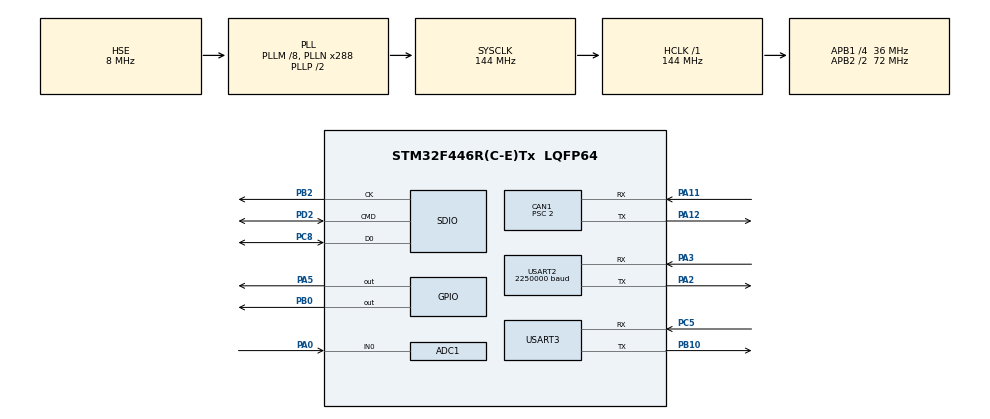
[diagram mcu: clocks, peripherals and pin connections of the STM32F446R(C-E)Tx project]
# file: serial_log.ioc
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ADC1.Channel-0\#ChannelRegularConversion=ADC_CHANNEL_0
ADC1.NbrOfConversionFlag=1
ADC1.Rank-0\#ChannelRegularConversion=1
ADC1.SamplingTime-0\#ChannelRegularConversion=ADC_SAMPLETIME_3CYCLES
ADC1.master=1
CAN1.BS1=CAN_BS1_12TQ
CAN1.BS2=CAN_BS2_5TQ
CAN1.CalculateTimeQuantum=55.55555555555556
CAN1.Prescaler=2
Dma.Request0=SDIO_RX
Dma.Request1=SDIO_TX
Dma.SDIO_RX.0.Direction=DMA_PERIPH_TO_MEMORY
Dma.SDIO_RX.0.FIFOMode=DMA_FIFOMODE_ENABLE
Dma.SDIO_RX.0.FIFOThreshold=DMA_FIFO_THRESHOLD_FULL
Dma.SDIO_RX.0.Instance=DMA2_Stream3
Dma.SDIO_RX.0.MemBurst=DMA_MBURST_INC4
Dma.SDIO_RX.0.MemDataAlignment=DMA_MDATAALIGN_WORD
Dma.SDIO_RX.0.MemInc=DMA_MINC_ENABLE
Dma.SDIO_RX.0.Mode=DMA_PFCTRL
Dma.SDIO_RX.0.PeriphBurst=DMA_PBURST_INC4
Dma.SDIO_RX.0.PeriphDataAlignment=DMA_PDATAALIGN_WORD
Dma.SDIO_RX.0.PeriphInc=DMA_PINC_DISABLE
Dma.SDIO_RX.0.Priority=DMA_PRIORITY_LOW
Dma.SDIO_TX.1.Direction=DMA_MEMORY_TO_PERIPH
Dma.SDIO_TX.1.FIFOMode=DMA_FIFOMODE_ENABLE
Dma.SDIO_TX.1.FIFOThreshold=DMA_FIFO_THRESHOLD_FULL
Dma.SDIO_TX.1.Instance=DMA2_Stream6
Dma.SDIO_TX.1.MemBurst=DMA_MBURST_INC4
Dma.SDIO_TX.1.MemDataAlignment=DMA_MDATAALIGN_WORD
Dma.SDIO_TX.1.MemInc=DMA_MINC_ENABLE
Dma.SDIO_TX.1.Mode=DMA_PFCTRL
Dma.SDIO_TX.1.PeriphBurst=DMA_PBURST_INC4
Dma.SDIO_TX.1.PeriphDataAlignment=DMA_PDATAALIGN_WORD
Dma.SDIO_TX.1.PeriphInc=DMA_PINC_DISABLE
Dma.SDIO_TX.1.Priority=DMA_PRIORITY_LOW
Mcu.Family=STM32F4
Mcu.Name=STM32F446R(C-E)Tx
Mcu.Package=LQFP64
NVIC.CAN1_RX0_IRQn=true\:0\:0\:false\:true\:true\:1\:true\:true
NVIC.CAN1_RX1_IRQn=true\:0\:0\:false\:true\:true\:2\:true\:true
NVIC.CAN1_SCE_IRQn=true\:0\:0\:false\:true\:true\:3\:true\:true
NVIC.DMA2_Stream3_IRQn=true\:0\:0\:false\:false\:true\:false\:true
NVIC.DMA2_Stream6_IRQn=true\:0\:0\:false\:false\:true\:false\:true
NVIC.PriorityGroup=NVIC_PRIORITYGROUP_4
NVIC.SDIO_IRQn=true\:0\:0\:false\:false\:true\:true\:true
NVIC.TIM6_DAC_IRQn=true\:0\:0\:false\:true\:true\:4\:true\:true
NVIC.TIM7_IRQn=true\:0\:0\:false\:true\:true\:5\:true\:true
NVIC.USART2_IRQn=true\:0\:0\:false\:true\:true\:6\:true\:true
PA0-WKUP.Signal=ADCx_IN0
PA11.Mode=Master
PA11.Signal=CAN1_RX
PA12.Mode=Master
PA12.Signal=CAN1_TX
PA2.Mode=Asynchronous
PA2.Signal=USART2_TX
PA3.Mode=Asynchronous
PA3.Signal=USART2_RX
PA5.GPIO_PuPd=GPIO_PULLUP
PA5.Signal=GPIO_Output
PB0.GPIO_PuPd=GPIO_PULLUP
PB0.Signal=GPIO_Output
PB10.Mode=Asynchronous
PB10.Signal=USART3_TX
PB2.Mode=SD_1_bit
PB2.Signal=SDIO_CK
PC5.Mode=Asynchronous
PC5.Signal=USART3_RX
PC8.Mode=SD_1_bit
PC8.Signal=SDIO_D0
PD2.Mode=SD_1_bit
PD2.Signal=SDIO_CMD
PH0-OSC_IN.Mode=HSE-External-Clock-Source
PH0-OSC_IN.Signal=RCC_OSC_IN
PH1-OSC_OUT.Mode=HSE-External-Clock-Source
PH1-OSC_OUT.Signal=RCC_OSC_OUT
ProjectManager.HeapSize=0x2000
ProjectManager.StackSize=0x4000
ProjectManager.TargetToolchain=STM32CubeIDE
RCC.AHBFreq_Value=144000000
RCC.APB1CLKDivider=RCC_HCLK_DIV4
RCC.APB1Freq_Value=36000000
RCC.APB1TimFreq_Value=72000000
RCC.APB2CLKDivider=RCC_HCLK_DIV2
RCC.APB2Freq_Value=72000000
RCC.APB2TimFreq_Value=144000000
RCC.CortexFreq_Value=144000000
RCC.HCLKFreq_Value=144000000
RCC.HSE_VALUE=8000000
RCC.PLLM=8
RCC.PLLN=288
RCC.PLLQ=8
RCC.PLLSourceVirtual=RCC_PLLSOURCE_HSE
RCC.SYSCLKFreq_VALUE=144000000
RCC.SYSCLKSource=RCC_SYSCLKSOURCE_PLLCLK
RCC.USBFreq_Value=36000000
RCC.VCOOutputFreq_Value=288000000
SH.ADCx_IN0.0=ADC1_IN0,IN0
TIM6.Period=1000
TIM6.Prescaler=36
TIM7.Period=1999
TIM7.Prescaler=3600
USART2.BaudRate=2250000
USART2.VirtualMode=VM_ASYNC
USART3.VirtualMode=VM_ASYNC
VP_TIM6_VS_ClockSourceINT.Mode=Enable_Timer
VP_TIM7_VS_ClockSourceINT.Mode=Enable_Timer
board=Real_Antenna

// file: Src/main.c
/* USER CODE BEGIN Header */
/**
  ******************************************************************************
  * @file           : main.c
  * @brief          : Main program body
  ******************************************************************************
  * @attention
  *
  * <h2><center>&copy; Copyright (c) 2019 STMicroelectronics.
  * All rights reserved.</center></h2>
  *
  * This software component is licensed by ST under BSD 3-Clause license,
  * the "License"; You may not use this file except in compliance with the
  * License. You may obtain a copy of the License at:
  *                        opensource.org/licenses/BSD-3-Clause
  *
  ******************************************************************************
  */
/* USER CODE END Header */

#include "main.h"

/* USER CODE BEGIN Includes */
#include "queue.h"
#include "string.h"
/* USER CODE END Includes */

ADC_HandleTypeDef hadc1;

CAN_HandleTypeDef hcan1;

SD_HandleTypeDef hsd;
DMA_HandleTypeDef hdma_sdio_rx;
DMA_HandleTypeDef hdma_sdio_tx;

TIM_HandleTypeDef htim6;
TIM_HandleTypeDef htim7;

UART_HandleTypeDef huart2;
UART_HandleTypeDef huart3;

/* USER CODE BEGIN PV */
/* Private variables ---------------------------------------------------------*/
CAN_FilterTypeDef sFilter;
CAN_RxHeaderTypeDef RxHeader;

int a=0;

int cont_rx=0;
char messagesToWrite[200][256];
int time=0;
long int printable_time = 0;
int delta;

int mount_ok = 0;
int msg_counter = 0;
int msg_index = 0;

static TIM_HandleTypeDef a_TimerInstance6 = {.Instance = TIM6};
static TIM_HandleTypeDef a_TimerInstance7 = {.Instance = TIM7};

int interrupt_flag = 0;

uint8_t huart_rx[50];
char msg_can_to_send[50];
int cont_msg_can_to_send;
int flag_rx=0;
int cont_huart_rx;
int cont_length_num;

/* USER CODE END PV */

void SystemClock_Config(void);
static void MX_GPIO_Init(void);
static void MX_DMA_Init(void);
static void MX_USART3_UART_Init(void);
static void MX_SDIO_SD_Init(void);
static void MX_USART2_UART_Init(void);
static void MX_CAN1_Init(void);
static void MX_TIM6_Init(void);
static void MX_TIM7_Init(void);
static void MX_ADC1_Init(void);
static void MX_NVIC_Init(void);
/* USER CODE BEGIN PFP */
/* Private function prototypes -----------------------------------------------*/

/* USER CODE END PFP */

int main(void)
{

  /* MCU Configuration--------------------------------------------------------*/

  /* Reset of all peripherals, Initializes the Flash interface and the Systick. */
  HAL_Init();

  /* Configure the system clock */
  SystemClock_Config();

  /* Initialize all configured peripherals */
  MX_GPIO_Init();
  MX_DMA_Init();
  MX_USART3_UART_Init();
  MX_SDIO_SD_Init();
  MX_USART2_UART_Init();
  MX_CAN1_Init();
  MX_TIM6_Init();
  MX_TIM7_Init();
  MX_ADC1_Init();

  /* Initialize interrupts */
  MX_NVIC_Init();
  /* USER CODE BEGIN 2 */
	sFilter.FilterMode = CAN_FILTERMODE_IDMASK;
	sFilter.FilterIdLow = 0;
	sFilter.FilterIdHigh = 0;
	sFilter.FilterMaskIdHigh = 0;
	sFilter.FilterMaskIdLow = 0;
	sFilter.FilterFIFOAssignment = CAN_FILTER_FIFO0;
	sFilter.FilterBank = 0;
	sFilter.FilterScale  = CAN_FILTERSCALE_16BIT;
	sFilter.FilterActivation = ENABLE;
	HAL_CAN_ConfigFilter(&hcan1, &sFilter);
	HAL_UART_Transmit(&huart2, (uint8_t*)"can init done_1\r\n", 17, 5);
	HAL_UART_Transmit(&huart3, (uint8_t*)"start_1\r\n", 9, 5);
	HAL_GPIO_TogglePin(GPIOB, GPIO_PIN_0);
	HAL_Delay(500);
	HAL_GPIO_TogglePin(GPIOB, GPIO_PIN_0);
	HAL_Delay(500);

	HAL_CAN_Start(&hcan1);
	HAL_CAN_ActivateNotification(&hcan1, CAN1_RX0_IRQn);
	HAL_CAN_ActivateNotification(&hcan1, CAN1_RX1_IRQn);

	HAL_UART_Transmit(&huart2, (uint8_t*)"can init done\r\n", 15, 5);
	HAL_UART_Transmit(&huart3, (uint8_t*)"start\r\n", 7, 5);

	HAL_TIM_Base_Start(&htim6);
	HAL_TIM_Base_Start(&htim7);
	HAL_TIM_Base_Start_IT(&htim6);
	HAL_TIM_Base_Start_IT(&htim7);

	HAL_UART_Receive_IT(&huart2,huart_rx, 35);

  /* USER CODE END 2 */

  /* Infinite loop */
  /* USER CODE BEGIN WHILE */

	char txt[200];
  while (1)
  {
	  a++;
	  HAL_Delay(1);
	  //print(&huart2,"ciao\r\n");
	  //HAL_Delay(10);
	  //HAL_UART_Transmit(&huart2, (uint8_t*)"ciao\r\n", 7, 5);

	  //sprintf(txt, "192 5 10 10 10 10 10 10 10\r\n");
	  //HAL_UART_Transmit(&huart2, (uint8_t*)txt, strlen(txt), 5);

	  if(flag_rx == 1){
		  flag_rx = 0;
		  HAL_UART_Transmit(&huart2, (uint8_t*)msg_can_to_send, strlen(msg_can_to_send), 5);
		  HAL_UART_Transmit(&huart2, (uint8_t*)"\r\n", 2, 5);
		  uint32_t mailbox;
		  uint8_t messaggio_can[8];
		  char can_id[] = {msg_can_to_send[0], msg_can_to_send[1], msg_can_to_send[2],'\0'};
		  int zero = (int)('0');
		  messaggio_can[0] = ((int)(msg_can_to_send[4])-zero)*100+((int)(msg_can_to_send[5])-zero)*10+((int)(msg_can_to_send[6])-zero);
		  messaggio_can[1] = ((int)(msg_can_to_send[8])-zero)*100+((int)(msg_can_to_send[9])-zero)*10+((int)(msg_can_to_send[10])-zero);
		  messaggio_can[2] = ((int)(msg_can_to_send[12])-zero)*100+((int)(msg_can_to_send[13])-zero)*10+((int)(msg_can_to_send[14])-zero);
		  messaggio_can[3] = ((int)(msg_can_to_send[16])-zero)*100+((int)(msg_can_to_send[17])-zero)*10+((int)(msg_can_to_send[18])-zero);
		  messaggio_can[4] = ((int)(msg_can_to_send[20])-zero)*100+((int)(msg_can_to_send[21])-zero)*10+((int)(msg_can_to_send[22])-zero);
		  messaggio_can[5] = ((int)(msg_can_to_send[24])-zero)*100+((int)(msg_can_to_send[25])-zero)*10+((int)(msg_can_to_send[26])-zero);
		  messaggio_can[6] = ((int)(msg_can_to_send[26])-zero)*100+((int)(msg_can_to_send[29])-zero)*10+((int)(msg_can_to_send[30])-zero);
		  messaggio_can[7] = ((int)(msg_can_to_send[30])-zero)*100+((int)(msg_can_to_send[31])-zero)*10+((int)(msg_can_to_send[34])-zero);

		  CAN_TxHeaderTypeDef TxHeader;
		  TxHeader.StdId = atoi(can_id);
		  TxHeader.IDE = CAN_ID_STD;
		  TxHeader.RTR = CAN_RTR_DATA;
		  TxHeader.DLC = 8;
		  TxHeader.TransmitGlobalTime = DISABLE;

		  if (HAL_CAN_GetTxMailboxesFreeLevel(&hcan1) != 0 && HAL_CAN_IsTxMessagePending(&hcan1, CAN_TX_MAILBOX0) == 0){
			  HAL_CAN_AddTxMessage(&hcan1, &TxHeader, messaggio_can, &mailbox);
		  }
		  //HAL_UART_Receive_IT(&huart2,huart_rx, 36);
	  }

    /* USER CODE END WHILE */

  }
}

void SystemClock_Config(void)
{
  RCC_OscInitTypeDef RCC_OscInitStruct = {0};
  RCC_ClkInitTypeDef RCC_ClkInitStruct = {0};
  RCC_PeriphCLKInitTypeDef PeriphClkInitStruct = {0};

  /** Configure the main internal regulator output voltage
  */
  __HAL_RCC_PWR_CLK_ENABLE();
  __HAL_PWR_VOLTAGESCALING_CONFIG(PWR_REGULATOR_VOLTAGE_SCALE1);
  /** Initializes the CPU, AHB and APB busses clocks
  */
  RCC_OscInitStruct.OscillatorType = RCC_OSCILLATORTYPE_HSE;
  RCC_OscInitStruct.HSEState = RCC_HSE_BYPASS;
  RCC_OscInitStruct.PLL.PLLState = RCC_PLL_ON;
  RCC_OscInitStruct.PLL.PLLSource = RCC_PLLSOURCE_HSE;
  RCC_OscInitStruct.PLL.PLLM = 8;
  RCC_OscInitStruct.PLL.PLLN = 288;
  RCC_OscInitStruct.PLL.PLLP = RCC_PLLP_DIV2;
  RCC_OscInitStruct.PLL.PLLQ = 8;
  RCC_OscInitStruct.PLL.PLLR = 2;
  if (HAL_RCC_OscConfig(&RCC_OscInitStruct) != HAL_OK)
  {
    Error_Handler();
  }
  /** Initializes the CPU, AHB and APB busses clocks
  */
  RCC_ClkInitStruct.ClockType = RCC_CLOCKTYPE_HCLK|RCC_CLOCKTYPE_SYSCLK
                              |RCC_CLOCKTYPE_PCLK1|RCC_CLOCKTYPE_PCLK2;
  RCC_ClkInitStruct.SYSCLKSource = RCC_SYSCLKSOURCE_PLLCLK;
  RCC_ClkInitStruct.AHBCLKDivider = RCC_SYSCLK_DIV1;
  RCC_ClkInitStruct.APB1CLKDivider = RCC_HCLK_DIV4;
  RCC_ClkInitStruct.APB2CLKDivider = RCC_HCLK_DIV2;

  if (HAL_RCC_ClockConfig(&RCC_ClkInitStruct, FLASH_LATENCY_4) != HAL_OK)
  {
    Error_Handler();
  }
  PeriphClkInitStruct.PeriphClockSelection = RCC_PERIPHCLK_SDIO|RCC_PERIPHCLK_CLK48;
  PeriphClkInitStruct.Clk48ClockSelection = RCC_CLK48CLKSOURCE_PLLQ;
  PeriphClkInitStruct.SdioClockSelection = RCC_SDIOCLKSOURCE_CLK48;
  if (HAL_RCCEx_PeriphCLKConfig(&PeriphClkInitStruct) != HAL_OK)
  {
    Error_Handler();
  }
}

/**
  * @brief NVIC Configuration.
  * @retval None
  */
static void MX_NVIC_Init(void)
{
  /* CAN1_RX0_IRQn interrupt configuration */
  HAL_NVIC_SetPriority(CAN1_RX0_IRQn, 0, 0);
  HAL_NVIC_EnableIRQ(CAN1_RX0_IRQn);
  /* CAN1_RX1_IRQn interrupt configuration */
  HAL_NVIC_SetPriority(CAN1_RX1_IRQn, 0, 0);
  HAL_NVIC_EnableIRQ(CAN1_RX1_IRQn);
  /* CAN1_SCE_IRQn interrupt configuration */
  HAL_NVIC_SetPriority(CAN1_SCE_IRQn, 0, 0);
  HAL_NVIC_EnableIRQ(CAN1_SCE_IRQn);
  /* TIM6_DAC_IRQn interrupt configuration */
  HAL_NVIC_SetPriority(TIM6_DAC_IRQn, 0, 0);
  HAL_NVIC_EnableIRQ(TIM6_DAC_IRQn);
  /* TIM7_IRQn interrupt configuration */
  HAL_NVIC_SetPriority(TIM7_IRQn, 0, 0);
  HAL_NVIC_EnableIRQ(TIM7_IRQn);
  /* USART2_IRQn interrupt configuration */
  HAL_NVIC_SetPriority(USART2_IRQn, 0, 0);
  HAL_NVIC_EnableIRQ(USART2_IRQn);
}

static void MX_ADC1_Init(void)
{

  ADC_ChannelConfTypeDef sConfig = {0};

  /** Configure the global features of the ADC (Clock, Resolution, Data Alignment and number of conversion)
  */
  hadc1.Instance = ADC1;
  hadc1.Init.ClockPrescaler = ADC_CLOCK_SYNC_PCLK_DIV2;
  hadc1.Init.Resolution = ADC_RESOLUTION_12B;
  hadc1.Init.ScanConvMode = DISABLE;
  hadc1.Init.ContinuousConvMode = DISABLE;
  hadc1.Init.DiscontinuousConvMode = DISABLE;
  hadc1.Init.ExternalTrigConvEdge = ADC_EXTERNALTRIGCONVEDGE_NONE;
  hadc1.Init.ExternalTrigConv = ADC_SOFTWARE_START;
  hadc1.Init.DataAlign = ADC_DATAALIGN_RIGHT;
  hadc1.Init.NbrOfConversion = 1;
  hadc1.Init.DMAContinuousRequests = DISABLE;
  hadc1.Init.EOCSelection = ADC_EOC_SINGLE_CONV;
  if (HAL_ADC_Init(&hadc1) != HAL_OK)
  {
    Error_Handler();
  }
  /** Configure for the selected ADC regular channel its corresponding rank in the sequencer and its sample time.
  */
  sConfig.Channel = ADC_CHANNEL_0;
  sConfig.Rank = 1;
  sConfig.SamplingTime = ADC_SAMPLETIME_3CYCLES;
  if (HAL_ADC_ConfigChannel(&hadc1, &sConfig) != HAL_OK)
  {
    Error_Handler();
  }

}

static void MX_CAN1_Init(void)
{

  hcan1.Instance = CAN1;
  hcan1.Init.Prescaler = 2;
  hcan1.Init.Mode = CAN_MODE_NORMAL;
  hcan1.Init.SyncJumpWidth = CAN_SJW_1TQ;
  hcan1.Init.TimeSeg1 = CAN_BS1_12TQ;
  hcan1.Init.TimeSeg2 = CAN_BS2_5TQ;
  hcan1.Init.TimeTriggeredMode = DISABLE;
  hcan1.Init.AutoBusOff = DISABLE;
  hcan1.Init.AutoWakeUp = DISABLE;
  hcan1.Init.AutoRetransmission = DISABLE;
  hcan1.Init.ReceiveFifoLocked = DISABLE;
  hcan1.Init.TransmitFifoPriority = DISABLE;
  if (HAL_CAN_Init(&hcan1) != HAL_OK)
  {
    Error_Handler();
  }

}

static void MX_SDIO_SD_Init(void)
{

  hsd.Instance = SDIO;
  hsd.Init.ClockEdge = SDIO_CLOCK_EDGE_RISING;
  hsd.Init.ClockBypass = SDIO_CLOCK_BYPASS_DISABLE;
  hsd.Init.ClockPowerSave = SDIO_CLOCK_POWER_SAVE_DISABLE;
  hsd.Init.BusWide = SDIO_BUS_WIDE_1B;
  hsd.Init.HardwareFlowControl = SDIO_HARDWARE_FLOW_CONTROL_DISABLE;
  hsd.Init.ClockDiv = 0;
  if (HAL_SD_Init(&hsd) != HAL_OK)
  {
    Error_Handler();
  }

}

static void MX_TIM6_Init(void)
{

  TIM_MasterConfigTypeDef sMasterConfig = {0};

  htim6.Instance = TIM6;
  htim6.Init.Prescaler = 36;
  htim6.Init.CounterMode = TIM_COUNTERMODE_UP;
  htim6.Init.Period = 1000;
  htim6.Init.AutoReloadPreload = TIM_AUTORELOAD_PRELOAD_DISABLE;
  if (HAL_TIM_Base_Init(&htim6) != HAL_OK)
  {
    Error_Handler();
  }
  sMasterConfig.MasterOutputTrigger = TIM_TRGO_RESET;
  sMasterConfig.MasterSlaveMode = TIM_MASTERSLAVEMODE_DISABLE;
  if (HAL_TIMEx_MasterConfigSynchronization(&htim6, &sMasterConfig) != HAL_OK)
  {
    Error_Handler();
  }

}

static void MX_TIM7_Init(void)
{

  TIM_MasterConfigTypeDef sMasterConfig = {0};

  htim7.Instance = TIM7;
  htim7.Init.Prescaler = 3600;
  htim7.Init.CounterMode = TIM_COUNTERMODE_UP;
  htim7.Init.Period = 1999;
  htim7.Init.AutoReloadPreload = TIM_AUTORELOAD_PRELOAD_DISABLE;
  if (HAL_TIM_Base_Init(&htim7) != HAL_OK)
  {
    Error_Handler();
  }
  sMasterConfig.MasterOutputTrigger = TIM_TRGO_RESET;
  sMasterConfig.MasterSlaveMode = TIM_MASTERSLAVEMODE_DISABLE;
  if (HAL_TIMEx_MasterConfigSynchronization(&htim7, &sMasterConfig) != HAL_OK)
  {
    Error_Handler();
  }

}

static void MX_USART2_UART_Init(void)
{

  huart2.Instance = USART2;
  huart2.Init.BaudRate = 2250000;
  huart2.Init.WordLength = UART_WORDLENGTH_8B;
  huart2.Init.StopBits = UART_STOPBITS_1;
  huart2.Init.Parity = UART_PARITY_NONE;
  huart2.Init.Mode = UART_MODE_TX_RX;
  huart2.Init.HwFlowCtl = UART_HWCONTROL_NONE;
  huart2.Init.OverSampling = UART_OVERSAMPLING_16;
  if (HAL_UART_Init(&huart2) != HAL_OK)
  {
    Error_Handler();
  }

}

static void MX_USART3_UART_Init(void)
{

  huart3.Instance = USART3;
  huart3.Init.BaudRate = 115200;
  huart3.Init.WordLength = UART_WORDLENGTH_8B;
  huart3.Init.StopBits = UART_STOPBITS_1;
  huart3.Init.Parity = UART_PARITY_NONE;
  huart3.Init.Mode = UART_MODE_TX_RX;
  huart3.Init.HwFlowCtl = UART_HWCONTROL_NONE;
  huart3.Init.OverSampling = UART_OVERSAMPLING_16;
  if (HAL_UART_Init(&huart3) != HAL_OK)
  {
    Error_Handler();
  }

}

static void MX_DMA_Init(void)
{

  /* DMA controller clock enable */
  __HAL_RCC_DMA2_CLK_ENABLE();

  /* DMA interrupt init */
  /* DMA2_Stream3_IRQn interrupt configuration */
  HAL_NVIC_SetPriority(DMA2_Stream3_IRQn, 0, 0);
  HAL_NVIC_EnableIRQ(DMA2_Stream3_IRQn);
  /* DMA2_Stream6_IRQn interrupt configuration */
  HAL_NVIC_SetPriority(DMA2_Stream6_IRQn, 0, 0);
  HAL_NVIC_EnableIRQ(DMA2_Stream6_IRQn);

}

static void MX_GPIO_Init(void)
{
  GPIO_InitTypeDef GPIO_InitStruct = {0};

  /* GPIO Ports Clock Enable */
  __HAL_RCC_GPIOH_CLK_ENABLE();
  __HAL_RCC_GPIOA_CLK_ENABLE();
  __HAL_RCC_GPIOC_CLK_ENABLE();
  __HAL_RCC_GPIOB_CLK_ENABLE();
  __HAL_RCC_GPIOD_CLK_ENABLE();

  /*Configure GPIO pin Output Level */
  HAL_GPIO_WritePin(GPIOA, GPIO_PIN_5, GPIO_PIN_RESET);

  /*Configure GPIO pin Output Level */
  HAL_GPIO_WritePin(GPIOB, GPIO_PIN_0, GPIO_PIN_RESET);

  /*Configure GPIO pin : PA5 */
  GPIO_InitStruct.Pin = GPIO_PIN_5;
  GPIO_InitStruct.Mode = GPIO_MODE_OUTPUT_PP;
  GPIO_InitStruct.Pull = GPIO_PULLUP;
  GPIO_InitStruct.Speed = GPIO_SPEED_FREQ_LOW;
  HAL_GPIO_Init(GPIOA, &GPIO_InitStruct);

  /*Configure GPIO pin : PB0 */
  GPIO_InitStruct.Pin = GPIO_PIN_0;
  GPIO_InitStruct.Mode = GPIO_MODE_OUTPUT_PP;
  GPIO_InitStruct.Pull = GPIO_PULLUP;
  GPIO_InitStruct.Speed = GPIO_SPEED_FREQ_LOW;
  HAL_GPIO_Init(GPIOB, &GPIO_InitStruct);

}

/* USER CODE BEGIN 4 */
int CAN_Send(char *msg_can){

		uint32_t mailbox;
		uint8_t flag = 0;

		char msg_id[3];
		msg_id[0] = msg_can[0];
		msg_id[1] = msg_can[1];
		msg_id[2] = '\0';

		CAN_TxHeaderTypeDef TxHeader;
		TxHeader.StdId = (uint32_t)atoi(msg_id);
		TxHeader.IDE = CAN_ID_STD;
		TxHeader.RTR = CAN_RTR_DATA;
		TxHeader.DLC = 8;
		TxHeader.TransmitGlobalTime = DISABLE;

		uint8_t data_to_send[8];
		int j=0;
		for(int i = 0; i < 50 || msg_can[i+2] == '\0'; i++){
			if(msg_can[i+2] == '\t' || msg_can[i+2] == ' '){// founded separation
				if(msg_can[i+4] == '\t' || msg_can[i+4] == ' '){ //one space number
					data_to_send[j] = msg_can[i+3]-(int)('0');
					i = i+1;
				}else if(msg_can[i+5] == '\t' || msg_can[i+5] == ' '){ //two space number
					char num[3];
					num[0] = msg_can[i+3];
					num[1] = msg_can[i+4];
					num[2] = '0';
					data_to_send[j] = atoi(num);
					i = i+2;
				}else if(msg_can[i+6] == '\t' || msg_can[i+6] == ' '){ //three space number
					char num[4];
					num[0] = msg_can[i+3];
					num[1] = msg_can[i+4];
					num[2] = msg_can[i+5];
					num[3] = '0';
					data_to_send[j] = atoi(num);
					i = i+3;
				}
			}
		}

		if (HAL_CAN_GetTxMailboxesFreeLevel(&hcan1) != 0 && HAL_CAN_IsTxMessagePending(&hcan1, CAN_TX_MAILBOX0) == 0){
			HAL_CAN_AddTxMessage(&hcan1, &TxHeader, data_to_send, &mailbox);
			flag = 1;
		}

		return flag;
	}
int CAN_Receive(uint8_t *DataRx, int size){

	if (HAL_CAN_GetRxFifoFillLevel(&hcan1, CAN_RX_FIFO0) != 0){
		HAL_CAN_GetRxMessage(&hcan1, CAN_RX_FIFO0, &RxHeader, DataRx);
	}

	int id = RxHeader.StdId;

	return id;
}
void HAL_CAN_RxFifo0FullCallback(CAN_HandleTypeDef *hcan){
	//HAL_GPIO_TogglePin(GPIOB, GPIO_PIN_0);
	uint8_t RxData[8];
	int id;
	id=CAN_Receive(RxData, 8);
	cont_rx++;
	//int time = secondsElapsed * 1000 + __HAL_TIM_GET_COUNTER(&htim6) / 20; //20 ticks for each millisecond
	//printable_time=time*1000+ __HAL_TIM_GET_COUNTER(&htim6);
	delta=0;
	mount_ok=1;
	if(mount_ok == 1){
		msg_index ++;
		printable_time = time*1000+ __HAL_TIM_GET_COUNTER(&htim6);
		msg_counter ++;
		//sprintf(messagesToWrite[msg_index], "%d\t%d\t%d\t%d\t%d\t%d\t%d\t%d\t%d\r\n", time, msg_index, 000, 2, 3, 4, 5, 6, 7);
		sprintf(messagesToWrite[msg_index], "%ld\t%d\t%u\t%u\t%u\t%u\t%u\t%u\t%u\t%u\r\n", printable_time, id,RxData[0], RxData[1], RxData[2], RxData[3], RxData[4], RxData[5], RxData[6], RxData[7]);
		HAL_GPIO_TogglePin(GPIOB, GPIO_PIN_0);
		//print(&huart2,messagesToWrite[msg_index]);
		HAL_UART_Transmit(&huart2, (uint8_t*)messagesToWrite[msg_index],(uint16_t)strlen(messagesToWrite[msg_index]),100);
		/*char printable_time_s[100];
		sprintf(printable_time_s,"%d\r\n",printable_time);
		print(&huart2,printable_time_s);*/
		msg_counter=0;
		msg_index=0;
	}
}
/*
void HAL_UART_RxCpltCallback(UART_HandleTypeDef *huart){
	print_it(huart);
}*/
void HAL_UART_RxCpltCallback(UART_HandleTypeDef *huart){

	flag_rx=1;
	for( int i = 0; i < 35; i++){
		msg_can_to_send[i] = huart_rx[i];
	}
	msg_can_to_send[35] = '\0';
	HAL_UART_Transmit(&huart3, (uint8_t*)msg_can_to_send, strlen(msg_can_to_send), 5);
	HAL_UART_Transmit(&huart3, (uint8_t*)"\r\n", 2, 5);
	HAL_UART_Receive_IT(&huart2,huart_rx, 35);

	/*if(huart_rx[0]=='-'){
		HAL_UART_Transmit(&huart3, (uint8_t*)msg_can_to_send, strlen(msg_can_to_send), 5);
		HAL_UART_Transmit(&huart3, (uint8_t*)"\r\n", 2, 5);
		flag_rx=1;
		msg_can_to_send[cont_huart_rx] = '\0';
		cont_huart_rx = 0;
		HAL_UART_Transmit(&huart3, (uint8_t*)msg_can_to_send, strlen(msg_can_to_send), 5);
		HAL_UART_Transmit(&huart3, (uint8_t*)"\r\n", 2, 5);
	}else{
		HAL_UART_Transmit(&huart3, (uint8_t*)huart_rx, strlen(huart_rx), 5);
		//msg_can_to_send[cont_huart_rx] = (char)huart_rx[0];
		//cont_huart_rx++;
		HAL_UART_Receive_IT(&huart2,huart_rx, 10);
	}*/

	/*if(huart_rx[0] == ' ' || huart_rx[0] == '\t'){
		if(cont_length_num == 2){
			msg_can_to_send[cont_huart_rx] = msg_can_to_send[cont_huat_rx-1];
			msg_can_to_send[cont_huart_rx-1]='0';
			cont_huart_rx+=1;
		}else if(cont_length_num == 3){
			msg_can_to_send[cont_huart_rx] = msg_can_to_send[cont_huart_rx-2];
			msg_can_to_send[cont_huart_rx-1]='0';
			msg_can_to_send[cont_huart_rx-2]='0';
			cont_huart_rx+=2;
		}
		cont_length_num = 0;
	}else{
		//if(cont_huart_rx == 26)
		msg_can_to_send[cont_huart_rx] = (char)huart_rx[0];
		cont_huart_rx++;
		cont_length_num++;
	}
	if(cont_huart_rx >= 27){
		HAL_UART_Transmit(&huart3, (uint8_t*)msg_can_to_send, strlen(msg_can_to_send), 5);
		HAL_UART_Transmit(&huart3, (uint8_t*)"\r\n", 2, 5);
		cont_length_num = 0;
		cont_huart_rx = 0;
		flag_rx = 1;
	}*/
}
void HAL_TIM_PeriodElapsedCallback(TIM_HandleTypeDef *htim){
	if(htim == &htim7){
		interrupt_flag = 1;
	}
}
/* USER CODE END 4 */

void Error_Handler(void)
{
  while(1)
  {
  }
}

/************************ (C) COPYRIGHT STMicroelectronics *****END OF FILE****/
